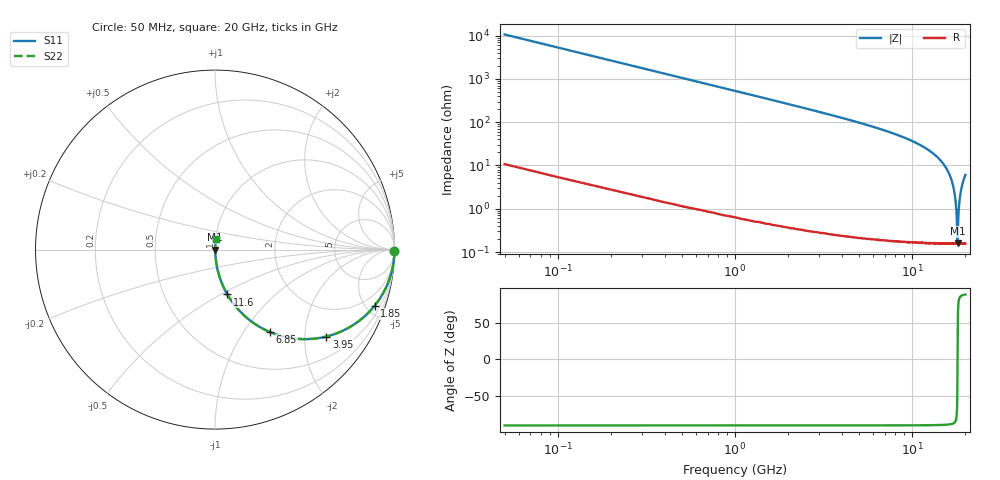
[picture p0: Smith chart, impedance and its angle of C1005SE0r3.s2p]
!	AVX	Thin	Film	Operation
!	Date:	March 2012
!	Description: Ultra-Miniature 01005 Size ACCU - P® Thin Film RF / Microwave Capacitor
!	Part Number:  C005YJ0R3ABSTR
!	Serial	Measurements
#	MHz	S	db	R	50
!	S11	S21	S12	S22
!	dB	Phase	dB	Phase	dB	Phase	dB	Phase
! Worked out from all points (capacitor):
!   400 points, 50 MHz to 20 GHz, reference 50 ohm
!   read as one part in series: C = 300 fF near 150 MHz
!   lowest |Z| = 160 mohm at 18.05 GHz (marker M1)
!   series resonance near 18.06 GHz, so ESL is about 260 pH
!   S11 on the Smith chart (normalised r, x): 50 MHz: open; 1.85 GHz: 1.01, -5.68; 3.95 GHz: 1.00, -2.56; 6.85 GHz: 1.00, -1.33; 11.6 GHz: 1.00, -0.54; 20 GHz: 1.00, +0.12
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50  -0.00 -0.5  -40.52 89.4  -40.52 89.4  -0.00 -0.5
100  -0.00 -1.1  -34.49 88.9  -34.49 88.9  -0.00 -1.1
200  -0.01 -2.2  -28.48 87.8  -28.48 87.8  -0.01 -2.2
500  -0.04 -5.4  -20.55 84.5  -20.55 84.5  -0.04 -5.4
1050  -0.17 -11.2  -14.21 78.7  -14.21 78.7  -0.17 -11.2
1850  -0.51 -19.4  -9.57 70.5  -9.57 70.5  -0.51 -19.4
3400  -1.59 -33.6  -5.15 56.3  -5.15 56.3  -1.59 -33.6
3950  -2.08 -38.0  -4.22 51.9  -4.22 51.9  -2.08 -38.0
6700  -4.99 -55.6  -1.67 34.3  -1.67 34.3  -4.99 -55.6
6850  -5.16 -56.3  -1.59 33.5  -1.59 33.5  -5.16 -56.3
10050  -9.32 -69.8  -0.55 20.0  -0.55 20.0  -9.32 -69.8
11600  -11.73 -74.6  -0.32 15.0  -0.32 15.0  -11.73 -74.6
13350  -15.04 -79.3  -0.15 10.2  -0.15 10.2  -15.04 -79.3
15350  -20.42 -83.6  -0.05 5.5  -0.05 5.5  -20.42 -83.6
16700  -26.78 -85.4  -0.02 2.6  -0.02 2.6  -26.78 -85.4
17650  -37.45 -82.5  -0.01 0.8  -0.01 0.8  -37.45 -82.5
17900  -45.50 -72.6  -0.01 0.3  -0.01 0.3  -45.50 -72.6
18050  -56.05 -6.5  -0.01 0.0  -0.01 0.0  -56.05 -6.5
18250  -43.77 75.7  -0.01 -0.4  -0.01 -0.4  -43.77 75.7
18600  -35.14 83.9  -0.01 -1.0  -0.01 -1.0  -35.14 83.9
19150  -29.23 85.4  -0.02 -2.0  -0.02 -2.0  -29.23 85.4
20000  -24.43 85.1  -0.03 -3.4  -0.03 -3.4  -24.43 85.1
